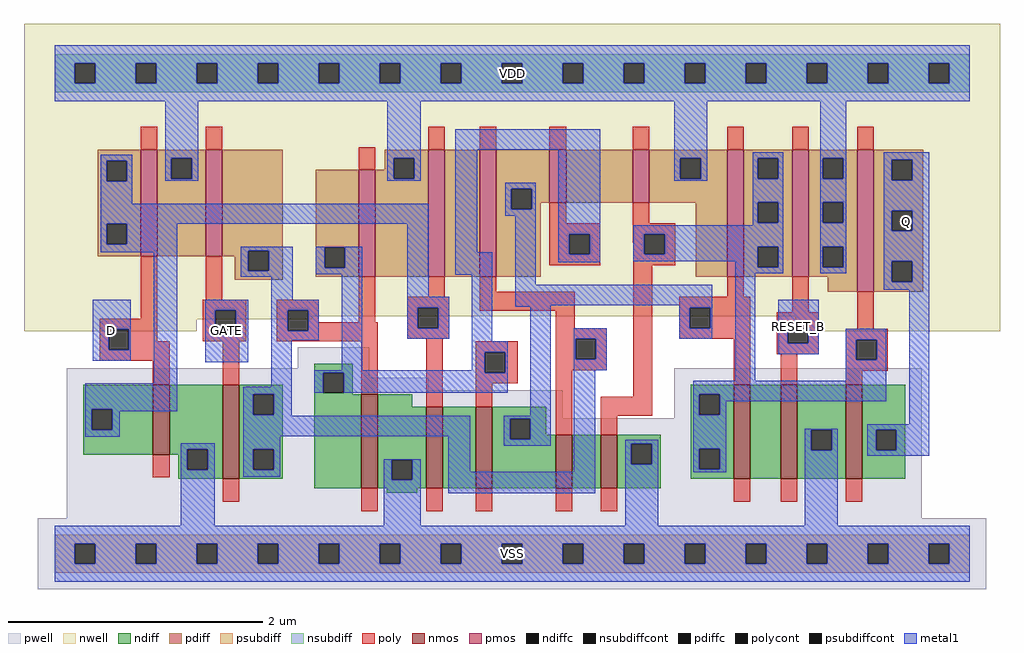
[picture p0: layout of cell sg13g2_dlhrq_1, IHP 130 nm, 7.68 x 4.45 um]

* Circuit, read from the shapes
.subckt sg13g2_dlhrq_1 Q D RESET_B GATE VDD VSS
XM1 VSS D n1 VSS sg13_lv_nmos w=0.55u l=0.13u
XM2 n2 GATE VSS VSS sg13_lv_nmos w=0.74u l=0.13u
XM3 VSS n2 n3 VSS sg13_lv_nmos w=0.74u l=0.13u
XM4 n4 n1 VSS VSS sg13_lv_nmos w=0.64u l=0.13u
XM5 n5 n3 n4 VSS sg13_lv_nmos w=0.64u l=0.13u
XM6 n6 n2 n5 VSS sg13_lv_nmos w=0.42u l=0.13u
XM7 VSS n7 n6 VSS sg13_lv_nmos w=0.42u l=0.13u
XM8 n8 n5 n7 VSS sg13_lv_nmos w=0.74u l=0.13u
XM9 VSS RESET_B n8 VSS sg13_lv_nmos w=0.74u l=0.13u
XM10 Q n7 VSS VSS sg13_lv_nmos w=0.74u l=0.13u
XM11 VDD D n1 VDD sg13_lv_pmos w=0.84u l=0.13u
XM12 n2 GATE VDD VDD sg13_lv_pmos w=0.84u l=0.13u
XM13 VDD n2 n3 VDD sg13_lv_pmos w=0.84u l=0.13u
XM14 n9 n1 VDD VDD sg13_lv_pmos w=1u l=0.13u
XM15 n5 n2 n9 VDD sg13_lv_pmos w=1u l=0.13u
XM16 n10 n3 n5 VDD sg13_lv_pmos w=0.42u l=0.13u
XM17 VDD n7 n10 VDD sg13_lv_pmos w=0.42u l=0.13u
XM18 n7 n5 VDD VDD sg13_lv_pmos w=1u l=0.13u
XM19 VDD RESET_B n7 VDD sg13_lv_pmos w=1u l=0.13u
XM20 Q n7 VDD VDD sg13_lv_pmos w=1.12u l=0.13u
.ends

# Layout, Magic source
magic
tech ihp-sg13g2
magscale 1 2
<< nwell >>
rect -48 374 1488 834
rect -48 369 406 374
rect -48 350 224 369
rect 1166 350 1488 374
<< pwell >>
rect 383 292 495 325
rect 19 277 495 292
rect 19 257 589 277
rect 19 213 800 257
rect 975 213 1365 292
rect 19 56 1365 213
rect -26 -56 1466 56
<< nmos >>
rect 155 156 181 266
rect 265 118 291 266
rect 483 103 509 251
rect 585 103 611 231
rect 663 103 689 231
rect 789 103 815 187
rect 860 103 886 187
rect 1069 118 1095 266
rect 1143 118 1169 266
rect 1245 118 1271 266
<< pmos >>
rect 136 468 162 636
rect 238 468 264 636
rect 479 436 505 604
rect 588 436 614 636
rect 669 436 695 636
rect 779 552 805 636
rect 910 552 936 636
rect 1059 436 1085 636
rect 1161 436 1187 636
rect 1263 412 1289 636
<< ndiff >>
rect 409 285 469 299
rect 45 227 155 266
rect 45 195 59 227
rect 91 195 155 227
rect 45 156 155 195
rect 181 164 265 266
rect 181 156 209 164
rect 195 132 209 156
rect 241 132 265 164
rect 195 118 265 132
rect 291 251 359 266
rect 291 219 313 251
rect 345 219 359 251
rect 291 164 359 219
rect 291 132 313 164
rect 345 132 359 164
rect 291 118 359 132
rect 409 253 423 285
rect 455 253 469 285
rect 409 251 469 253
rect 409 103 483 251
rect 509 231 563 251
rect 509 148 585 231
rect 509 116 531 148
rect 563 116 585 148
rect 509 103 585 116
rect 611 103 663 231
rect 689 212 774 231
rect 689 180 717 212
rect 749 187 774 212
rect 1001 251 1069 266
rect 1001 219 1015 251
rect 1047 219 1069 251
rect 749 180 789 187
rect 689 103 789 180
rect 815 103 860 187
rect 886 173 954 187
rect 886 141 908 173
rect 940 141 954 173
rect 886 103 954 141
rect 1001 165 1069 219
rect 1001 133 1015 165
rect 1047 133 1069 165
rect 1001 118 1069 133
rect 1095 118 1143 266
rect 1169 195 1245 266
rect 1169 163 1191 195
rect 1223 163 1245 195
rect 1169 118 1245 163
rect 1271 195 1339 266
rect 1271 163 1293 195
rect 1325 163 1339 195
rect 1271 118 1339 163
rect 523 96 571 103
<< pdiff >>
rect 68 618 136 636
rect 68 586 82 618
rect 114 586 136 618
rect 68 519 136 586
rect 68 487 82 519
rect 114 487 136 519
rect 68 468 136 487
rect 162 622 238 636
rect 162 590 184 622
rect 216 590 238 622
rect 162 468 238 590
rect 264 477 359 636
rect 520 622 588 636
rect 520 604 534 622
rect 264 468 305 477
rect 284 445 305 468
rect 337 445 359 477
rect 284 431 359 445
rect 411 482 479 604
rect 411 450 425 482
rect 457 450 479 482
rect 411 436 479 450
rect 505 590 534 604
rect 566 590 588 622
rect 505 436 588 590
rect 614 436 669 636
rect 695 574 779 636
rect 695 542 719 574
rect 751 552 779 574
rect 805 552 910 636
rect 936 622 1059 636
rect 936 590 985 622
rect 1017 590 1059 622
rect 936 552 1059 590
rect 751 542 765 552
rect 695 436 765 542
rect 1009 436 1059 552
rect 1085 622 1161 636
rect 1085 590 1107 622
rect 1139 590 1161 622
rect 1085 553 1161 590
rect 1085 521 1107 553
rect 1139 521 1161 553
rect 1085 483 1161 521
rect 1085 451 1107 483
rect 1139 451 1161 483
rect 1085 436 1161 451
rect 1187 622 1263 636
rect 1187 590 1209 622
rect 1241 590 1263 622
rect 1187 553 1263 590
rect 1187 521 1209 553
rect 1241 521 1263 553
rect 1187 483 1263 521
rect 1187 451 1209 483
rect 1241 451 1263 483
rect 1187 436 1263 451
rect 1217 412 1263 436
rect 1289 620 1367 636
rect 1289 588 1318 620
rect 1350 588 1367 620
rect 1289 540 1367 588
rect 1289 508 1318 540
rect 1350 508 1367 540
rect 1289 460 1367 508
rect 1289 428 1318 460
rect 1350 428 1367 460
rect 1289 412 1367 428
<< ndiffc >>
rect 59 195 91 227
rect 209 132 241 164
rect 313 219 345 251
rect 313 132 345 164
rect 423 253 455 285
rect 531 116 563 148
rect 717 180 749 212
rect 1015 219 1047 251
rect 908 141 940 173
rect 1015 133 1047 165
rect 1191 163 1223 195
rect 1293 163 1325 195
<< pdiffc >>
rect 82 586 114 618
rect 82 487 114 519
rect 184 590 216 622
rect 305 445 337 477
rect 425 450 457 482
rect 534 590 566 622
rect 719 542 751 574
rect 985 590 1017 622
rect 1107 590 1139 622
rect 1107 521 1139 553
rect 1107 451 1139 483
rect 1209 590 1241 622
rect 1209 521 1241 553
rect 1209 451 1241 483
rect 1318 588 1350 620
rect 1318 508 1350 540
rect 1318 428 1350 460
<< psubdiff >>
rect 0 16 1440 30
rect 0 -16 32 16
rect 64 -16 128 16
rect 160 -16 224 16
rect 256 -16 320 16
rect 352 -16 416 16
rect 448 -16 512 16
rect 544 -16 608 16
rect 640 -16 704 16
rect 736 -16 800 16
rect 832 -16 896 16
rect 928 -16 992 16
rect 1024 -16 1088 16
rect 1120 -16 1184 16
rect 1216 -16 1280 16
rect 1312 -16 1376 16
rect 1408 -16 1440 16
rect 0 -30 1440 -16
<< nsubdiff >>
rect 0 772 1440 786
rect 0 740 32 772
rect 64 740 128 772
rect 160 740 224 772
rect 256 740 320 772
rect 352 740 416 772
rect 448 740 512 772
rect 544 740 608 772
rect 640 740 704 772
rect 736 740 800 772
rect 832 740 896 772
rect 928 740 992 772
rect 1024 740 1088 772
rect 1120 740 1184 772
rect 1216 740 1280 772
rect 1312 740 1376 772
rect 1408 740 1440 772
rect 0 726 1440 740
<< psubdiffcont >>
rect 32 -16 64 16
rect 128 -16 160 16
rect 224 -16 256 16
rect 320 -16 352 16
rect 416 -16 448 16
rect 512 -16 544 16
rect 608 -16 640 16
rect 704 -16 736 16
rect 800 -16 832 16
rect 896 -16 928 16
rect 992 -16 1024 16
rect 1088 -16 1120 16
rect 1184 -16 1216 16
rect 1280 -16 1312 16
rect 1376 -16 1408 16
<< nsubdiffcont >>
rect 32 740 64 772
rect 128 740 160 772
rect 224 740 256 772
rect 320 740 352 772
rect 416 740 448 772
rect 512 740 544 772
rect 608 740 640 772
rect 704 740 736 772
rect 800 740 832 772
rect 896 740 928 772
rect 992 740 1024 772
rect 1088 740 1120 772
rect 1184 740 1216 772
rect 1280 740 1312 772
rect 1376 740 1408 772
<< poly >>
rect 136 636 162 672
rect 238 636 264 672
rect 479 604 505 640
rect 588 636 614 672
rect 669 636 695 672
rect 779 636 805 672
rect 910 636 936 672
rect 1059 636 1085 672
rect 1161 636 1187 672
rect 1263 636 1289 672
rect 136 370 162 468
rect 238 400 264 468
rect 779 520 805 552
rect 910 520 936 552
rect 779 503 859 520
rect 779 471 810 503
rect 842 471 859 503
rect 910 503 977 520
rect 910 490 928 503
rect 779 454 859 471
rect 911 471 928 490
rect 960 471 977 503
rect 911 454 977 471
rect 71 353 162 370
rect 71 321 85 353
rect 117 334 162 353
rect 233 383 302 400
rect 233 351 253 383
rect 285 351 302 383
rect 233 334 302 351
rect 350 383 416 400
rect 350 351 367 383
rect 399 364 416 383
rect 479 364 505 436
rect 588 404 614 436
rect 669 412 695 436
rect 555 387 621 404
rect 399 351 509 364
rect 350 334 509 351
rect 555 355 572 387
rect 604 355 621 387
rect 669 382 819 412
rect 555 338 621 355
rect 789 355 819 382
rect 789 338 869 355
rect 117 321 181 334
rect 71 304 181 321
rect 155 266 181 304
rect 265 266 291 334
rect 155 120 181 156
rect 483 251 509 334
rect 265 82 291 118
rect 585 231 611 338
rect 663 317 729 334
rect 663 285 677 317
rect 709 285 729 317
rect 663 268 729 285
rect 789 306 820 338
rect 852 306 869 338
rect 789 289 869 306
rect 663 231 689 268
rect 789 187 815 289
rect 911 247 941 454
rect 1059 404 1085 436
rect 983 387 1095 404
rect 983 355 1000 387
rect 1032 355 1095 387
rect 1161 380 1187 436
rect 983 338 1095 355
rect 1069 266 1095 338
rect 1137 363 1203 380
rect 1137 331 1154 363
rect 1186 331 1203 363
rect 1263 354 1289 412
rect 1137 314 1203 331
rect 1245 337 1311 354
rect 1143 266 1169 314
rect 1245 305 1262 337
rect 1294 305 1311 337
rect 1245 288 1311 305
rect 1245 266 1271 288
rect 860 217 941 247
rect 860 187 886 217
rect 483 67 509 103
rect 585 67 611 103
rect 663 67 689 103
rect 789 67 815 103
rect 860 67 886 103
rect 1069 82 1095 118
rect 1143 82 1169 118
rect 1245 82 1271 118
<< polycont >>
rect 810 471 842 503
rect 928 471 960 503
rect 85 321 117 353
rect 253 351 285 383
rect 367 351 399 383
rect 572 355 604 387
rect 677 285 709 317
rect 820 306 852 338
rect 1000 355 1032 387
rect 1154 331 1186 363
rect 1262 305 1294 337
<< metal1 >>
rect 0 772 1440 800
rect 0 740 32 772
rect 64 740 128 772
rect 160 740 224 772
rect 256 740 320 772
rect 352 740 416 772
rect 448 740 512 772
rect 544 740 608 772
rect 640 740 704 772
rect 736 740 800 772
rect 832 740 896 772
rect 928 740 992 772
rect 1024 740 1088 772
rect 1120 740 1184 772
rect 1216 740 1280 772
rect 1312 740 1376 772
rect 1408 740 1440 772
rect 0 712 1440 740
rect 73 618 122 628
rect 73 586 82 618
rect 114 586 122 618
rect 174 622 226 712
rect 174 590 184 622
rect 216 590 226 622
rect 174 587 226 590
rect 524 622 576 712
rect 524 590 534 622
rect 566 590 576 622
rect 524 587 576 590
rect 631 636 859 668
rect 73 551 122 586
rect 73 519 589 551
rect 73 487 82 519
rect 114 487 193 519
rect 73 474 193 487
rect 60 353 120 400
rect 60 321 85 353
rect 117 321 120 353
rect 60 304 120 321
rect 156 268 193 474
rect 293 477 375 483
rect 293 445 305 477
rect 337 445 375 477
rect 293 436 375 445
rect 411 482 484 483
rect 411 450 425 482
rect 457 450 484 482
rect 411 440 484 450
rect 341 400 375 436
rect 237 383 305 400
rect 237 351 253 383
rect 285 351 305 383
rect 237 301 305 351
rect 341 383 416 400
rect 341 351 367 383
rect 399 351 416 383
rect 341 336 416 351
rect 48 227 193 268
rect 341 263 373 336
rect 452 289 484 440
rect 555 404 589 519
rect 631 474 665 636
rect 709 574 757 584
rect 709 542 719 574
rect 751 542 757 574
rect 709 532 757 542
rect 631 439 689 474
rect 555 387 621 404
rect 555 355 572 387
rect 604 355 621 387
rect 555 338 621 355
rect 657 334 689 439
rect 725 423 757 532
rect 793 503 859 636
rect 975 622 1027 712
rect 975 590 985 622
rect 1017 590 1027 622
rect 975 587 1027 590
rect 1099 622 1147 632
rect 1099 590 1107 622
rect 1139 590 1147 622
rect 1099 553 1147 590
rect 1099 521 1107 553
rect 1139 521 1147 553
rect 1099 517 1147 521
rect 793 471 810 503
rect 842 471 859 503
rect 793 459 859 471
rect 911 503 1147 517
rect 911 471 928 503
rect 960 483 1147 503
rect 960 471 1107 483
rect 911 460 1107 471
rect 1071 451 1107 460
rect 1139 451 1147 483
rect 1071 441 1147 451
rect 1205 622 1246 712
rect 1205 590 1209 622
rect 1241 590 1246 622
rect 1205 553 1246 590
rect 1205 521 1209 553
rect 1241 521 1246 553
rect 1205 483 1246 521
rect 1205 451 1209 483
rect 1241 451 1246 483
rect 1205 441 1246 451
rect 1305 620 1377 632
rect 1305 588 1318 620
rect 1350 588 1377 620
rect 1305 540 1377 588
rect 1305 508 1318 540
rect 1350 508 1377 540
rect 1305 460 1377 508
rect 725 391 1035 423
rect 725 389 781 391
rect 657 317 713 334
rect 657 289 677 317
rect 48 195 59 227
rect 91 224 193 227
rect 297 251 373 263
rect 409 285 677 289
rect 709 285 713 317
rect 409 253 423 285
rect 455 253 713 285
rect 91 195 103 224
rect 48 184 103 195
rect 297 219 313 251
rect 345 219 373 251
rect 297 217 373 219
rect 749 217 781 389
rect 983 387 1035 391
rect 983 355 1000 387
rect 1032 355 1035 387
rect 297 185 654 217
rect 199 164 252 174
rect 199 132 209 164
rect 241 132 252 164
rect 199 44 252 132
rect 297 164 355 185
rect 297 132 313 164
rect 345 132 355 164
rect 297 121 355 132
rect 518 148 576 149
rect 518 116 531 148
rect 563 116 576 148
rect 518 44 576 116
rect 620 129 654 185
rect 707 212 781 217
rect 707 180 717 212
rect 749 180 781 212
rect 707 170 781 180
rect 817 338 869 355
rect 983 338 1035 355
rect 817 306 820 338
rect 852 306 869 338
rect 817 289 869 306
rect 817 129 851 289
rect 1071 272 1103 441
rect 1305 428 1318 460
rect 1350 428 1377 460
rect 1305 415 1377 428
rect 1139 363 1203 400
rect 1139 331 1154 363
rect 1186 331 1203 363
rect 1139 314 1203 331
rect 1245 337 1309 354
rect 1245 305 1262 337
rect 1294 305 1309 337
rect 1245 272 1309 305
rect 1005 251 1309 272
rect 1005 219 1015 251
rect 1047 240 1309 251
rect 1047 219 1057 240
rect 620 95 851 129
rect 898 173 950 179
rect 898 141 908 173
rect 940 141 950 173
rect 898 44 950 141
rect 1005 165 1057 219
rect 1345 204 1377 415
rect 1005 133 1015 165
rect 1047 133 1057 165
rect 1005 128 1057 133
rect 1181 195 1233 197
rect 1181 163 1191 195
rect 1223 163 1233 195
rect 1181 44 1233 163
rect 1279 195 1377 204
rect 1279 163 1293 195
rect 1325 163 1377 195
rect 1279 154 1377 163
rect 0 16 1440 44
rect 0 -16 32 16
rect 64 -16 128 16
rect 160 -16 224 16
rect 256 -16 320 16
rect 352 -16 416 16
rect 448 -16 512 16
rect 544 -16 608 16
rect 640 -16 704 16
rect 736 -16 800 16
rect 832 -16 896 16
rect 928 -16 992 16
rect 1024 -16 1088 16
rect 1120 -16 1184 16
rect 1216 -16 1280 16
rect 1312 -16 1376 16
rect 1408 -16 1440 16
rect 0 -44 1440 -16
<< labels >>
flabel metal1 s 1305 415 1377 632 0 FreeSans 400 0 0 0 Q
port 2 nsew
flabel metal1 s 60 304 120 400 0 FreeSans 400 0 0 0 D
port 3 nsew
flabel metal1 s 1139 314 1203 400 0 FreeSans 400 0 0 0 RESET_B
port 4 nsew
flabel metal1 s 237 301 305 400 0 FreeSans 400 0 0 0 GATE
port 5 nsew
flabel metal1 s 0 712 1440 800 0 FreeSans 400 0 0 0 VDD
port 6 nsew
flabel metal1 s 0 -44 1440 44 0 FreeSans 400 0 0 0 VSS
port 7 nsew
<< properties >>
string FIXED_BBOX 0 0 1440 756
<< end >>
